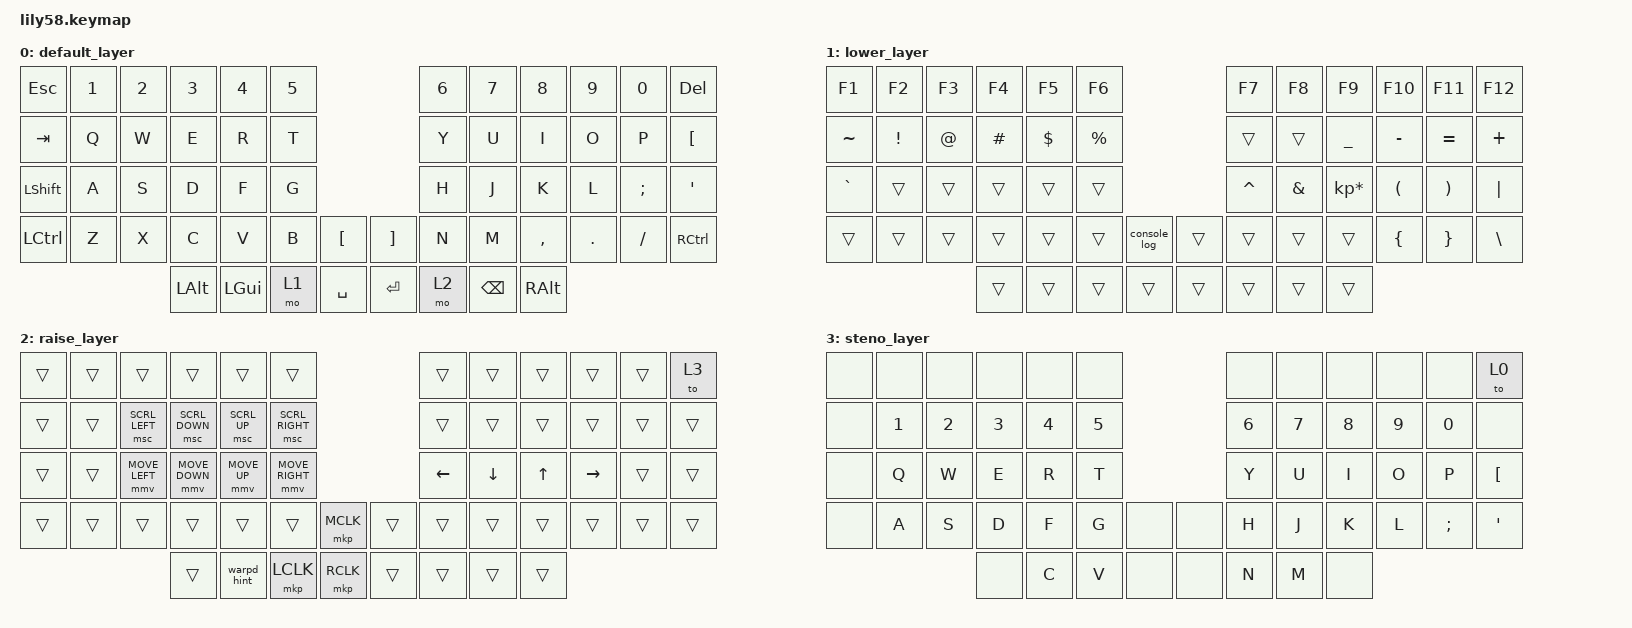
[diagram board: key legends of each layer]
/*
 * Copyright (c) 2020 The ZMK Contributors
 *
 * SPDX-License-Identifier: MIT
 */

#include <behaviors.dtsi>
#include <dt-bindings/zmk/keys.h>
#include <dt-bindings/zmk/pointing.h>

/ {
    macros {
        console_log: console_log {
            compatible = "zmk,behavior-macro";
            #binding-cells = <0>;
            bindings = <&kp C &kp O &kp N &kp S &kp O &kp L &kp E &kp DOT &kp L &kp O &kp G &kp LPAR>;
            label = "CONSOLE_LOG";
        };

        warpd_hint: warpd_hint {
            compatible = "zmk,behavior-macro";
            #binding-cells = <0>;
            bindings =
                <&kt LEFT_ALT &kt LEFT_WIN &kt X>,
                <&macro_wait_time 50>,
                <&kt LEFT_ALT &kt LEFT_WIN &kt X>;

            label = "WARPD_HINT";
        };
    };

    keymap {
        compatible = "zmk,keymap";

        default_layer {
            // ------------------------------------------------------------------------------------------------------------
            // |  ESC  |  1  |  2  |  3   |  4   |  5   |                   |  6   |  7    |  8    |  9   |   0   |   `   |
            // |  TAB  |  Q  |  W  |  E   |  R   |  T   |                   |  Y   |  U    |  I    |  O   |   P   |   -   |
            // |  CTRL |  A  |  S  |  D   |  F   |  G   |                   |  H   |  J    |  K    |  L   |   ;   |   '   |
            // | SHIFT |  Z  |  X  |  C   |  V   |  B   |   "["  |  |  "]"  |  N   |  M    |  ,    |  .   |   /   | SHIFT |
            //                     | ALT  | GUI  | LOWER|  SPACE |  | ENTER | RAISE| BSPC  | GUI   |

            bindings = <
&kp ESC           &kp N1  &kp N2  &kp N3    &kp N4    &kp N5                          &kp N6  &kp N7    &kp N8         &kp N9   &kp N0    &kp DEL
&kp TAB           &kp Q   &kp W   &kp E     &kp R     &kp T                           &kp Y   &kp U     &kp I          &kp O    &kp P     &kp LEFT_BRACKET
&kp LEFT_SHIFT    &kp A   &kp S   &kp D     &kp F     &kp G                           &kp H   &kp J     &kp K          &kp L    &kp SEMI  &kp SINGLE_QUOTE
&kp LEFT_CONTROL  &kp Z   &kp X   &kp C     &kp V     &kp B   &kp LBKT     &kp RBKT   &kp N   &kp M     &kp COMMA      &kp DOT  &kp FSLH  &kp RCTRL
                                  &kp LALT  &kp LGUI  &mo 1   &kp SPACE    &kp ENTER  &mo 2   &kp BSPC  &kp RIGHT_ALT
            >;
        };

        lower_layer {
            // --------------------------------------------------------------------------------------------------------------
            // | LPAD  | BRDn | BRUp |  MUT |  Vo- |  Vo+ |                   |      |       |       |      |       |       |
            // |  F1   |  F2  |  F3  |  F4  |  F5  |  F6  |                   |  F7  |  F8   |  F9   |  F10 |  F11  |  F12  |
            // |   `   |  !   |  @   |  #   |  $   |  %   |                   |  ^   |  &    |  *    |  (   |   )   |   ~   |
            // |       |      |      |      |      |      |        |  |       |      |  _    |  +    |  {   |   }   |  "|"  |
            //                       |      |      |      |        |  |       |      |       |       |

            bindings = <
&kp F1     &kp F2    &kp F3  &kp F4    &kp F5      &kp F6                               &kp F7     &kp F8    &kp F9           &kp F10    &kp F11    &kp F12
&kp TILDE  &kp EXCL  &kp AT  &kp HASH  &kp DOLLAR  &kp PERCENT                          &trans     &trans    &kp UNDER        &kp MINUS  &kp EQUAL  &kp PLUS
&kp GRAVE  &trans    &trans  &trans    &trans      &trans                               &kp CARET  &kp AMPS  &kp KP_MULTIPLY  &kp LPAR   &kp RPAR   &kp PIPE
&trans     &trans    &trans  &trans    &trans      &trans       &console_log    &trans  &trans     &trans    &trans           &kp LBRC   &kp RBRC   &kp BACKSLASH
                             &trans    &trans      &trans       &trans          &trans  &trans     &trans    &trans
            >;
        };

        raise_layer {
            // ------------------------------------------------------------------------------------------------------------
            // |       |     |     |      |      |      |                   |      |       |       |      |       |       |
            // |   `   |  1  |  2  |  3   |  4   |  5   |                   |  6   |   7   |   8   |  9   |   0   |       |
            // |   F1  |  F2 |  F3 |  F4  |  F5  |  F6  |                   |      |   <-  |   v   |  ^   |  ->   |       |
            // |   F7  |  F8 |  F9 |  F10 |  F11 |  F12 |        |  |       |  +   |   -   |   =   |  [   |   ]   |   \   |
            //                     |      |      |      |        |  |       |      |       |       |

            bindings = <
&trans  &trans  &trans          &trans          &trans        &trans                                &trans    &trans    &trans  &trans     &trans  &to 3
&trans  &trans  &msc SCRL_LEFT  &msc SCRL_DOWN  &msc SCRL_UP  &msc SCRL_RIGHT                       &trans    &trans    &trans  &trans     &trans  &trans
&trans  &trans  &mmv MOVE_LEFT  &mmv MOVE_DOWN  &mmv MOVE_UP  &mmv MOVE_RIGHT                       &kp LEFT  &kp DOWN  &kp UP  &kp RIGHT  &trans  &trans
&trans  &trans  &trans          &trans          &trans        &trans           &mkp MCLK    &trans  &trans    &trans    &trans  &trans     &trans  &trans
                                &trans          &warpd_hint   &mkp LCLK        &mkp RCLK    &trans  &trans    &trans    &trans
            >;
        };

        steno_layer {
            bindings = <
&none  &none         &none         &none         &none         &none                         &none         &none         &none         &none         &none          &to 0
&none  &kp NUMBER_1  &kp NUMBER_2  &kp NUMBER_3  &kp NUMBER_4  &kp NUMBER_5                  &kp NUMBER_6  &kp NUMBER_7  &kp NUMBER_8  &kp NUMBER_9  &kp NUMBER_0   &none
&none  &kp Q         &kp W         &kp E         &kp R         &kp T                         &kp Y         &kp U         &kp I         &kp O         &kp P          &kp LEFT_BRACKET
&none  &kp A         &kp S         &kp D         &kp F         &kp G         &none    &none  &kp H         &kp J         &kp K         &kp L         &kp SEMICOLON  &kp SQT
                                   &none         &kp C         &kp V         &none    &none  &kp N         &kp M         &none
            >;
        };
    };
};
